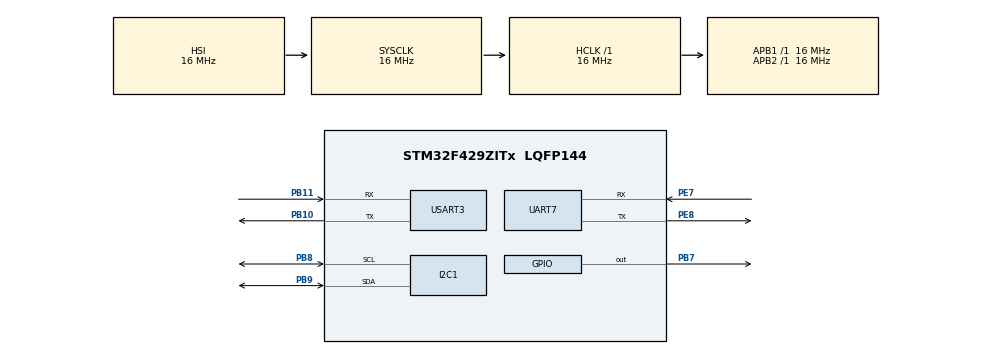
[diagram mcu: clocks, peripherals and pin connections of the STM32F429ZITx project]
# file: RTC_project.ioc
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Mcu.Family=STM32F4
RCC.CortexFreq_Value=16000000
FREERTOS.Tasks01=defaultTask,24,128,StartDefaultTask,Default,NULL,Dynamic,NULL,NULL
PB10.Mode=Asynchronous
UART7.VirtualMode=Asynchronous
PB11.Signal=USART3_RX
ProjectManager.StackSize=0x400
VP_FREERTOS_VS_CMSIS_V2.Mode=CMSIS_V2
PE8.Mode=Asynchronous
PB11.Mode=Asynchronous
ProjectManager.TargetToolchain=TrueSTUDIO
PB9.Mode=I2C
RCC.LSE_VALUE=32768
RCC.AHBFreq_Value=16000000
PB10.Signal=USART3_TX
RCC.HSE_VALUE=25000000
board=custom
RCC.VCOOutputFreq_Value=192000000
RCC.APB2Freq_Value=16000000
PE8.Signal=UART7_TX
PB7.Signal=GPIO_Output
Mcu.Name=STM32F429ZITx
RCC.SYSCLKFreq_VALUE=16000000
Mcu.Package=LQFP144
PE7.Mode=Asynchronous
PB9.Signal=I2C1_SDA
USART3.VirtualMode=VM_ASYNC
ProjectManager.HeapSize=0x200
RCC.HSI_VALUE=16000000
NVIC.PriorityGroup=NVIC_PRIORITYGROUP_4
PB8.Mode=I2C
PB8.Signal=I2C1_SCL
PE7.Signal=UART7_RX
RCC.APB1Freq_Value=16000000

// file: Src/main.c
/* USER CODE BEGIN Header */
/**
 ******************************************************************************
 * @file           : main.c
 * @brief          : Main program body
 ******************************************************************************
 * @attention
 *
 * <h2><center>&copy; Copyright (c) 2020 STMicroelectronics.
 * All rights reserved.</center></h2>
 *
 * This software component is licensed by ST under Ultimate Liberty license
 * SLA0044, the "License"; You may not use this file except in compliance with
 * the License. You may obtain a copy of the License at:
 *                             www.st.com/SLA0044
 *
 ******************************************************************************
 */
/* USER CODE END Header */

#include "main.h"
#include "cmsis_os.h"
#include <stdio.h>
#include <string.h>

I2C_HandleTypeDef hi2c1;

UART_HandleTypeDef huart7;
UART_HandleTypeDef huart3;

/* Definitions for defaultTask */
osThreadId_t defaultTaskHandle;
const osThreadAttr_t defaultTask_attributes = {
		.name = "defaultTask",
		.priority = (osPriority_t) osPriorityNormal,
		.stack_size = 128 * 4
};

void SystemClock_Config(void);
static void MX_GPIO_Init(void);
static void MX_I2C1_Init(void);
static void MX_USART3_UART_Init(void);
static void MX_UART7_Init(void);
void StartDefaultTask(void *argument);

int main(void)
{

	/* MCU Configuration--------------------------------------------------------*/

	/* Reset of all peripherals, Initializes the Flash interface and the Systick. */
	HAL_Init();

	/* Configure the system clock */
	SystemClock_Config();

	/* Initialize all configured peripherals */
	MX_GPIO_Init();
	MX_I2C1_Init();
	MX_USART3_UART_Init();
	MX_UART7_Init();

	/* Init scheduler */
	osKernelInitialize();

	/* Create the thread(s) */
	/* creation of defaultTask */
	defaultTaskHandle = osThreadNew(StartDefaultTask, NULL, &defaultTask_attributes);

	/* USER CODE BEGIN RTOS_THREADS */
	char scd = 0x00;
	HAL_I2C_Mem_Write(&hi2c1, 0xD0, 0x00,1, &scd, 1, 1000);
	char min = 0x25;
	HAL_I2C_Mem_Write(&hi2c1, 0xD0, 0x01,1, &min, 1, 1000);
	char hour = 0x13;
	HAL_I2C_Mem_Write(&hi2c1, 0xD0, 0x02,1, &hour, 1, 1000);
	char yrs = 0x20;
	HAL_I2C_Mem_Write(&hi2c1, 0xD0, 0x04,1, &yrs, 1, 1000);
	char month = 0x11;
	HAL_I2C_Mem_Write(&hi2c1, 0xD0, 0x05,1, &month, 1, 1000);
	char day = 0x16;
	HAL_I2C_Mem_Write(&hi2c1, 0xD0, 0x06,1, &day, 1, 1000);

	/* add threads, ... */
	/* USER CODE END RTOS_THREADS */

	/* Start scheduler */
	osKernelStart();

	/* We should never get here as control is now taken by the scheduler */
	/* Infinite loop */
	while (1)
	{

	}
}

void SystemClock_Config(void)
{
	RCC_OscInitTypeDef RCC_OscInitStruct = {0};
	RCC_ClkInitTypeDef RCC_ClkInitStruct = {0};

	/** Configure the main internal regulator output voltage
	 */
	__HAL_RCC_PWR_CLK_ENABLE();
	__HAL_PWR_VOLTAGESCALING_CONFIG(PWR_REGULATOR_VOLTAGE_SCALE3);
	/** Initializes the CPU, AHB and APB busses clocks
	 */
	RCC_OscInitStruct.OscillatorType = RCC_OSCILLATORTYPE_HSI;
	RCC_OscInitStruct.HSIState = RCC_HSI_ON;
	RCC_OscInitStruct.HSICalibrationValue = RCC_HSICALIBRATION_DEFAULT;
	RCC_OscInitStruct.PLL.PLLState = RCC_PLL_NONE;
	if (HAL_RCC_OscConfig(&RCC_OscInitStruct) != HAL_OK)
	{
		Error_Handler();
	}
	/** Initializes the CPU, AHB and APB busses clocks
	 */
	RCC_ClkInitStruct.ClockType = RCC_CLOCKTYPE_HCLK|RCC_CLOCKTYPE_SYSCLK
			|RCC_CLOCKTYPE_PCLK1|RCC_CLOCKTYPE_PCLK2;
	RCC_ClkInitStruct.SYSCLKSource = RCC_SYSCLKSOURCE_HSI;
	RCC_ClkInitStruct.AHBCLKDivider = RCC_SYSCLK_DIV1;
	RCC_ClkInitStruct.APB1CLKDivider = RCC_HCLK_DIV1;
	RCC_ClkInitStruct.APB2CLKDivider = RCC_HCLK_DIV1;

	if (HAL_RCC_ClockConfig(&RCC_ClkInitStruct, FLASH_LATENCY_0) != HAL_OK)
	{
		Error_Handler();
	}
}

static void MX_I2C1_Init(void)
{

	hi2c1.Instance = I2C1;
	hi2c1.Init.ClockSpeed = 100000;
	hi2c1.Init.DutyCycle = I2C_DUTYCYCLE_2;
	hi2c1.Init.OwnAddress1 = 0;
	hi2c1.Init.AddressingMode = I2C_ADDRESSINGMODE_7BIT;
	hi2c1.Init.DualAddressMode = I2C_DUALADDRESS_DISABLE;
	hi2c1.Init.OwnAddress2 = 0;
	hi2c1.Init.GeneralCallMode = I2C_GENERALCALL_DISABLE;
	hi2c1.Init.NoStretchMode = I2C_NOSTRETCH_DISABLE;
	if (HAL_I2C_Init(&hi2c1) != HAL_OK)
	{
		Error_Handler();
	}
	/** Configure Analogue filter
	 */
	if (HAL_I2CEx_ConfigAnalogFilter(&hi2c1, I2C_ANALOGFILTER_ENABLE) != HAL_OK)
	{
		Error_Handler();
	}
	/** Configure Digital filter
	 */
	if (HAL_I2CEx_ConfigDigitalFilter(&hi2c1, 0) != HAL_OK)
	{
		Error_Handler();
	}

}

static void MX_UART7_Init(void)
{

	huart7.Instance = UART7;
	huart7.Init.BaudRate = 115200;
	huart7.Init.WordLength = UART_WORDLENGTH_8B;
	huart7.Init.StopBits = UART_STOPBITS_1;
	huart7.Init.Parity = UART_PARITY_NONE;
	huart7.Init.Mode = UART_MODE_TX_RX;
	huart7.Init.HwFlowCtl = UART_HWCONTROL_NONE;
	huart7.Init.OverSampling = UART_OVERSAMPLING_16;
	if (HAL_UART_Init(&huart7) != HAL_OK)
	{
		Error_Handler();
	}

}

static void MX_USART3_UART_Init(void)
{

	huart3.Instance = USART3;
	huart3.Init.BaudRate = 115200;
	huart3.Init.WordLength = UART_WORDLENGTH_8B;
	huart3.Init.StopBits = UART_STOPBITS_1;
	huart3.Init.Parity = UART_PARITY_NONE;
	huart3.Init.Mode = UART_MODE_TX_RX;
	huart3.Init.HwFlowCtl = UART_HWCONTROL_NONE;
	huart3.Init.OverSampling = UART_OVERSAMPLING_16;
	if (HAL_UART_Init(&huart3) != HAL_OK)
	{
		Error_Handler();
	}

}

static void MX_GPIO_Init(void)
{
	GPIO_InitTypeDef GPIO_InitStruct = {0};

	/* GPIO Ports Clock Enable */
	__HAL_RCC_GPIOE_CLK_ENABLE();
	__HAL_RCC_GPIOB_CLK_ENABLE();

	/*Configure GPIO pin Output Level */
	HAL_GPIO_WritePin(GPIOB, GPIO_PIN_7, GPIO_PIN_RESET);

	/*Configure GPIO pin : PB7 */
	GPIO_InitStruct.Pin = GPIO_PIN_7;
	GPIO_InitStruct.Mode = GPIO_MODE_OUTPUT_PP;
	GPIO_InitStruct.Pull = GPIO_NOPULL;
	GPIO_InitStruct.Speed = GPIO_SPEED_FREQ_LOW;
	HAL_GPIO_Init(GPIOB, &GPIO_InitStruct);

}

/* USER CODE BEGIN 4 */
uint8_t buffer[7]={};
HAL_StatusTypeDef  get_RTC_data(){
	HAL_StatusTypeDef status ;
	uint8_t registAdd = 0x00;
	if(HAL_I2C_Master_Transmit(&hi2c1,0x68<<1,&registAdd,1,20)==HAL_OK){
		status = HAL_I2C_Master_Receive(&hi2c1,0x68<<1,(uint8_t*)buffer,7,20);
		HAL_GPIO_TogglePin(GPIOB,GPIO_PIN_7);
	}

	return status;
}

int get_second(){

	int seconds = ((buffer[0] & 0x0F)) ;
	return seconds;
}
int get_diz_second(){
	int dizaine_second = ((buffer[0] & 0x70)>>4) ;

	return dizaine_second;
}

int get_minutes(){

	int minutes = ((buffer[1] & 0x0F)) ;

	return minutes;
}
int get_diz_minutes(){
	int dizaine_minutes = ((buffer[1] & 0x70)>>4) ;

	return dizaine_minutes;
}
int get_hour(){

	int hour = ((buffer[2] & 0x0F)) ;

	return hour;
}
int get_diz_hour(){
	int dizaine_hour = ((buffer[2] & 0x30)>>4) ;

	return dizaine_hour;
}
int get_day(){

	int day = ((buffer[4] & 0x0F)) ;

	return day;
}
int get_diz_day(){
	int dizaine_day = ((buffer[4] & 0x30)>>4) ;

	return dizaine_day;
}
int get_month(){

	int month = ((buffer[5] & 0x0F)) ;

	return month;
}
int get_diz_month(){
	int dizaine_month = ((buffer[5] & 0x10)>>4) ;

	return dizaine_month;
}
int get_years(){

	int years = ((buffer[6] & 0x0F)) ;

	return years;
}
int get_diz_years(){
	int dizaine_years= ((buffer[6] & 0xF0)>>4) ;

	return dizaine_years;
}

void print_hour_and_date(Horo_date horodate){
	char message [19];
	message[0]='d';
	message[1] = horodate.diz_years+48;
	message[2] = horodate.years+48;
	message[3]= '/';
	message[4]= horodate.diz_month+48;
	message[5]= horodate.month+48;
	message[6]= '/';
	message[7]= horodate.diz_day+48;
	message[8]= horodate.day+48;
	message[9]='-';
	message[10]=horodate.diz_hours+48;
	message[11]=horodate.hours+48;
	message[12]= ':';
	message[13]= horodate.diz_minutes+48;
	message[14]= horodate.minutes+48;
	message[15]= ':';
	message[16]=horodate.diz_second+48;
	message[17]=horodate.second+48;
	message[18]='\n';

	//	char newmessage[5];
	//	newmessage[0]='d';
	//	newmessage[1]='a';
	//	newmessage[2]='b';
	//	newmessage[3]='c';
	//	newmessage[4]='\n';
	HAL_UART_Transmit(&huart7, (uint8_t*)message, 19, 10);

}
/* USER CODE END 4 */

void StartDefaultTask(void *argument)
{
	/* USER CODE BEGIN 5 */
	Horo_date DateAndHour;
	/* Infinite loop */
	for(;;)
	{
		if(get_RTC_data((uint8_t*)buffer)== HAL_OK){

			DateAndHour.second = get_second();
			DateAndHour.minutes = get_minutes();
			DateAndHour.hours = get_hour();
			DateAndHour.day = get_day();
			DateAndHour.month= get_month();
			DateAndHour.years = get_years();

			DateAndHour.diz_second = get_diz_second();
			DateAndHour.diz_minutes = get_diz_minutes();
			DateAndHour.diz_hours = get_diz_hour();
			DateAndHour.diz_day = get_diz_day();
			DateAndHour.diz_month= get_diz_month();
			DateAndHour.diz_years = get_diz_years();

		}
		print_hour_and_date(DateAndHour);

		osDelay(2000);
	}
	/* USER CODE END 5 */
}

void Error_Handler(void)
{
}

/************************ (C) COPYRIGHT STMicroelectronics *****END OF FILE****/
